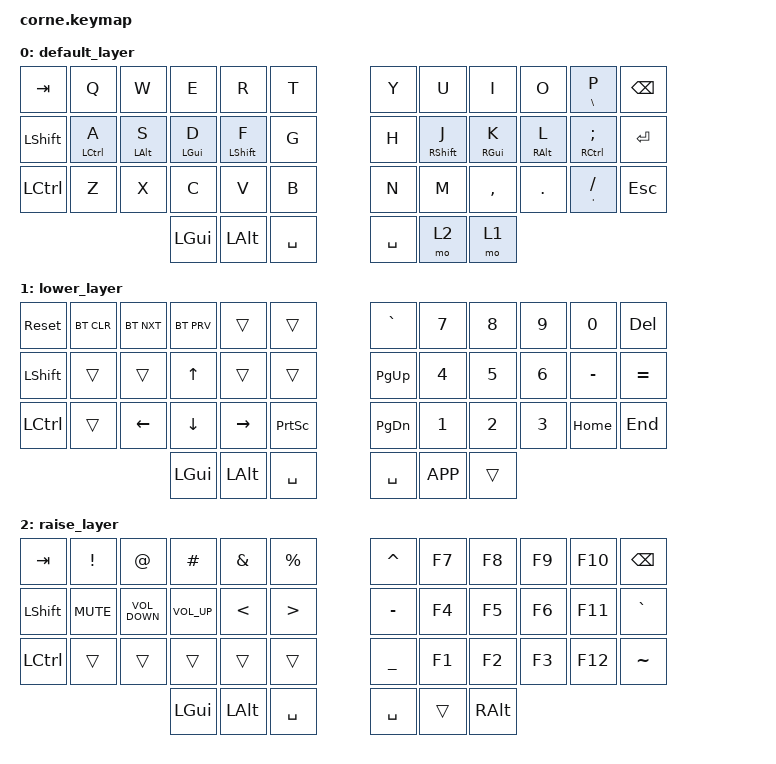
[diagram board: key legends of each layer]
/*
 * Copyright (c) 2020 The ZMK Contributors
 *
 * SPDX-License-Identifier: MIT
 */

#include <behaviors.dtsi>
#include <dt-bindings/zmk/keys.h>
#include <dt-bindings/zmk/bt.h>

/ {
    combos {
        compatible = "zmk,combos";

        Escape {
            bindings = <&kp ESC>;
            key-positions = <0 11>;
        };

        OpenParenthesis {
            bindings = <&kp LEFT_PARENTHESIS>;
            key-positions = <6 7>;
        };

        OpenBrace {
            bindings = <&kp LEFT_BRACE>;
            key-positions = <18 19>;
        };

        OpenBracket {
            bindings = <&kp LEFT_BRACKET>;
            key-positions = <30 31>;
        };

        CloseParenthasis {
            bindings = <&kp RIGHT_PARENTHESIS>;
            key-positions = <8 7>;
        };

        CloseBrace {
            bindings = <&kp RIGHT_BRACE>;
            key-positions = <19 20>;
        };

        CloseBracket {
            bindings = <&kp RIGHT_BRACKET>;
            key-positions = <31 32>;
        };

        LessThan {
            bindings = <&kp LESS_THAN>;
            key-positions = <3 4>;
        };

        GreatherThan {
            bindings = <&kp GREATER_THAN>;
            key-positions = <4 5>;
        };

        Enter {
            bindings = <&kp ENTER>;
            key-positions = <38 39>;
        };
    };

    behaviors {
        hm: homerow_mods {
            compatible = "zmk,behavior-hold-tap";
            #binding-cells = <2>;
            tapping-term-ms = <250>;
            quick-tap-ms = <200>;
            flavor = "balanced";
            bindings = <&kp>, <&kp>;
        };
    };

    keymap {
        compatible = "zmk,keymap";

        default_layer {
            // -----------------------------------------------------------------------------------------
            // |  TAB |  Q  |  W  |  E  |  R  |  T  |   |  Y  |  U   |  I  |  O  | P/\ | BSPC |
            // | SHFT | CTL | ALT | GUI | SFT |  G  |   |  H  | SFT  | GUI | ALT | CTL | ENTR |
            //homerow |  A  |  S  |  D  |  F  |     |   |     |  J   |  K  |  L  |  ;  |
            // | CTRL |  Z  |  X  |  C  |  V  |  B  |   |  N  |  M   |  ,  |  .  |  /' | ESC  |
            //                    | GUI | ALT | SPC |   | SPC | L2   | L1  |

            bindings = <
&kp TAB         &kp Q        &kp W       &kp E       &kp R         &kp T      &kp Y      &kp U        &kp I      &kp O       &mt BSLH P      &kp BSPC
&kp LEFT_SHIFT  &hm LCTRL A  &hm LALT S  &hm LGUI D  &hm LSHIFT F  &kp G      &kp H      &hm RSHIFT J &hm RGUI K &hm RALT L  &hm RCTRL SEMI  &kp ENTER
&kp LCTRL       &kp Z        &kp X       &kp C       &kp V         &kp B      &kp N      &kp M        &kp COMMA  &kp DOT     &mt SQT FSLH    &kp ESC
                                         &kp LGUI    &kp LEFT_ALT  &kp SPACE  &kp SPACE  &mo 2        &mo 1
            >;
        };

        lower_layer {
            // -----------------------------------------------------------------------------------------
            // | SYSR |BT_CLR|BT_NXT|BT_PRV|     |     |   |  `  |  7  |  8  |  9  |  0  | DEL |
            // | SHFT |      |      | UP   |     |     |   | PGUP|  4  |  5  |  6  |  -  |  =  |
            // | CTRL |      |  LFT | DWN  | RGT |PSCRN|   | PGDN|  1  |  2  |  3  | HOME| END |
            //                      | GUI | ALT | SPC |   | SPC |MENU |     |

            bindings = <
&sys_reset     &bt BT_CLR &bt BT_NXT &bt BT_PRV    &trans     &trans       &kp GRAVE  &kp N7  &kp N8  &kp N9     &kp N0     &kp DEL
&kp LEFT_SHIFT &trans     &trans     &kp UP        &trans     &trans       &kp PG_UP  &kp N4  &kp N5  &kp N6     &kp MINUS  &kp EQUAL
&kp LCTRL      &trans     &kp LEFT   &kp DOWN      &kp RIGHT  &kp PSCRN    &kp PG_DN  &kp N1  &kp N2  &kp N3     &kp HOME   &kp END
                          &kp LGUI        &kp LEFT_ALT     &kp SPACE    &kp SPACE  &kp K_APP  &trans
            >;
        };

        raise_layer {
            // -----------------------------------------------------------------------------------------
            // |  TAB |  !  |  @  |  #  |  &  |  %  |   |  ^  | F7  | F8  | F9  | F10 | BSPC |
            // | SHFT |MUTE |V_DN |V_UP |  <  |  >  |   |  -  | F4  | F5  | F6  | F11 |  `   |
            // | CTRL |     |     |     |     |     |   |  _  | F1  | F2  | F3  | F12 |  ~   |
            //                    | GUI | ALT | SPC |   | SPC |     | ALT |

            bindings = <
&kp TAB         &kp EXCL     &kp AT             &kp HASH         &kp AMPERSAND  &kp PRCNT           &kp CARET  &kp F7    &kp F8    &kp F9    &kp F10   &kp BSPC
&kp LEFT_SHIFT  &kp C_MUTE   &kp C_VOLUME_DOWN  &kp C_VOLUME_UP  &kp LESS_THAN  &kp GREATER_THAN    &kp MINUS  &kp F4    &kp F5    &kp F6    &kp F11   &kp GRAVE
&kp LCTRL       &trans       &trans             &trans           &trans         &trans              &kp UNDER  &kp F1    &kp F2    &kp F3    &kp F12   &kp TILDE
                                                 &kp LGUI         &kp LEFT_ALT   &kp SPACE           &kp SPACE  &trans    &kp RALT
            >;
        };
    };
};


//For new Layers
    // -----------------------------------------------------------------------------------------
    // |      |     |     |     |     |     |   |     |     |     |     |     |      |
    // |      |     |     |     |     |     |   |     |     |     |     |     |      |
    // |      |     |     |     |     |     |   |     |     |     |     |     |      |
    //                    |     |     |     |   |     |     |     |
